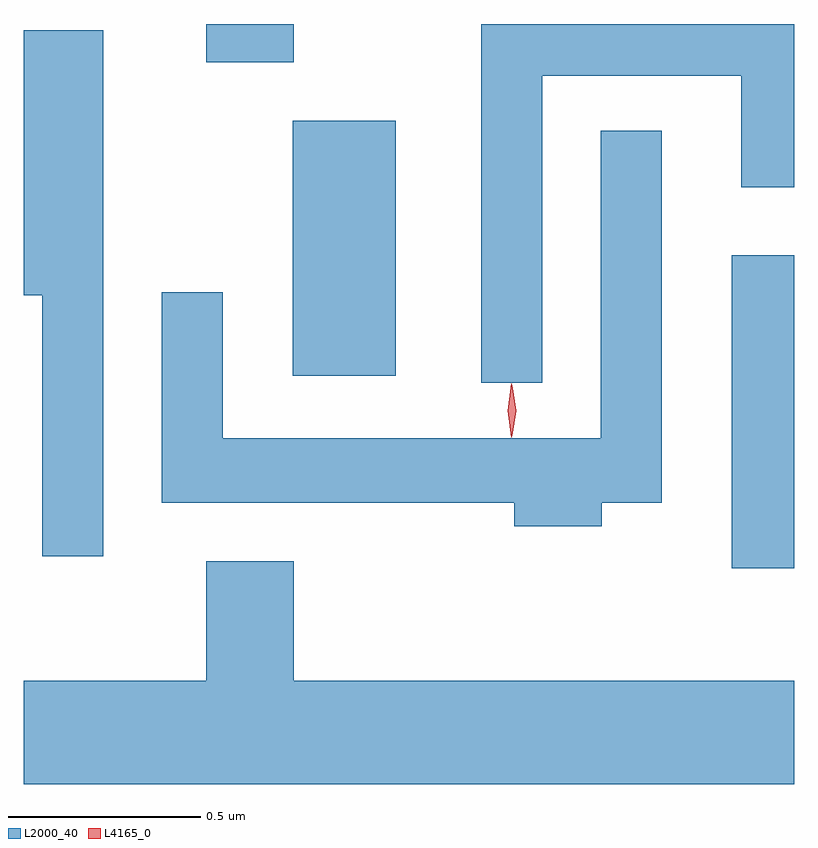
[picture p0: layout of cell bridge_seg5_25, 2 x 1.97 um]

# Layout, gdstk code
import gdstk
lib = gdstk.Library(unit=1e-6, precision=1e-09)
def R(c, l, rs):  # rectangles x0, y0, x1, y1
    for r in rs: c.add(gdstk.rectangle(r[:2], r[2:], *l))
def P(c, l, *ps):  # polygons
    for p in ps: c.add(gdstk.Polygon(p, *l))
L2000_40 = (2000, 40)
L4165_0 = (4165, 0)

bridge_seg5_25 = lib.new_cell('bridge_seg5_25')
R(bridge_seg5_25, L2000_40, [(1229.836,1472.896,1229.998,1473.709), (1228.696,1473.396,1228.964,1474.059), (1228.471,1474.211,1228.699,1474.31)])
P(bridge_seg5_25, L2000_40, [(1229.344,1474.176),(1229.861,1474.176),(1229.861,1473.886),(1229.998,1473.886),(1229.998,1474.31),(1229.186,1474.31),(1229.186,1473.378),(1229.344,1473.378)],
  [(1228.204,1474.294),(1227.998,1474.294),(1227.998,1473.606),(1228.046,1473.606),(1228.046,1472.928),(1228.204,1472.928)],
  [(1229.499,1473.066),(1229.654,1473.066),(1229.654,1474.033),(1229.496,1474.033),(1229.496,1473.234),(1228.514,1473.234),(1228.514,1473.613),(1228.356,1473.613),(1228.356,1473.066),(1229.271,1473.066),(1229.271,1473.006),(1229.499,1473.006)],
  [(1229.998,1472.604),(1228.699,1472.604),(1228.699,1472.914),(1228.471,1472.914),(1228.471,1472.604),(1227.998,1472.604),(1227.998,1472.336),(1229.998,1472.336)])
P(bridge_seg5_25, L4165_0, [(1229.264,1473.237),(1229.255,1473.306),(1229.264,1473.376),(1229.265,1473.376),(1229.265,1473.376),(1229.275,1473.306),(1229.265,1473.237),(1229.265,1473.237)],
  [(1229.265,1473.24),(1229.256,1473.306),(1229.265,1473.372),(1229.265,1473.373),(1229.266,1473.372),(1229.276,1473.306),(1229.266,1473.24),(1229.266,1473.24)])

lib.write_gds('bridge_seg5_25.gds')
